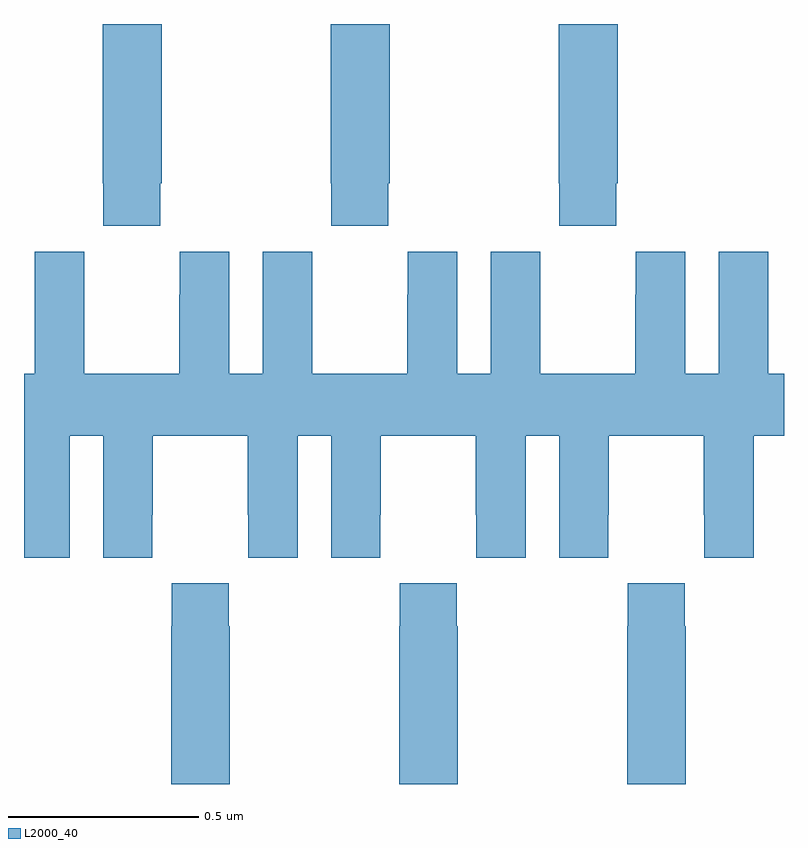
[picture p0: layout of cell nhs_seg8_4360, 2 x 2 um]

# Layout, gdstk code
import gdstk
lib = gdstk.Library(unit=1e-6, precision=1e-09)
def P(c, l, *ps):  # polygons
    for p in ps: c.add(gdstk.Polygon(p, *l))
L2000_40 = (2000, 40)

nhs_seg8_4360 = lib.new_cell('nhs_seg8_4360')
P(nhs_seg8_4360, L2000_40, [(169.959,1134.481),(169.962,1134.481),(169.962,1134.9),(169.807,1134.9),(169.807,1134.481),(169.809,1134.481),(169.809,1134.369),(169.959,1134.369)],
  [(170.559,1134.481),(170.562,1134.481),(170.562,1134.9),(170.407,1134.9),(170.407,1134.481),(170.409,1134.481),(170.409,1134.369),(170.559,1134.369)],
  [(169.359,1134.481),(169.362,1134.481),(169.362,1134.9),(169.207,1134.9),(169.207,1134.481),(169.209,1134.481),(169.209,1134.369),(169.359,1134.369)],
  [(169.12,1133.816),(169.208,1133.816),(169.208,1133.496),(169.338,1133.496),(169.338,1133.608),(169.339,1133.608),(169.339,1133.816),(169.589,1133.816),(169.589,1133.608),(169.59,1133.608),(169.59,1133.496),(169.72,1133.496),(169.72,1133.816),(169.808,1133.816),(169.808,1133.496),(169.938,1133.496),(169.938,1133.608),(169.939,1133.608),(169.939,1133.816),(170.189,1133.816),(170.189,1133.608),(170.19,1133.608),(170.19,1133.496),(170.32,1133.496),(170.32,1133.816),(170.408,1133.816),(170.408,1133.496),(170.538,1133.496),(170.538,1133.608),(170.539,1133.608),(170.539,1133.816),(170.789,1133.816),(170.789,1133.608),(170.79,1133.608),(170.79,1133.496),(170.92,1133.496),(170.92,1133.816),(171,1133.816),(171,1133.98),(170.959,1133.98),(170.959,1134.188),(170.958,1134.188),(170.958,1134.301),(170.828,1134.301),(170.828,1133.98),(170.74,1133.98),(170.74,1134.301),(170.61,1134.301),(170.61,1134.188),(170.609,1134.188),(170.609,1133.98),(170.359,1133.98),(170.359,1134.188),(170.358,1134.188),(170.358,1134.301),(170.228,1134.301),(170.228,1133.98),(170.14,1133.98),(170.14,1134.301),(170.01,1134.301),(170.01,1134.188),(170.009,1134.188),(170.009,1133.98),(169.759,1133.98),(169.759,1134.188),(169.758,1134.188),(169.758,1134.301),(169.628,1134.301),(169.628,1133.98),(169.54,1133.98),(169.54,1134.301),(169.41,1134.301),(169.41,1134.188),(169.409,1134.188),(169.409,1133.98),(169.159,1133.98),(169.159,1134.188),(169.158,1134.188),(169.158,1134.301),(169.028,1134.301),(169.028,1133.98),(169,1133.98),(169,1133.496),(169.12,1133.496)],
  [(170.742,1133.315),(170.739,1133.315),(170.739,1133.428),(170.589,1133.428),(170.589,1133.315),(170.587,1133.315),(170.587,1132.9),(170.742,1132.9)],
  [(170.142,1133.315),(170.139,1133.315),(170.139,1133.428),(169.989,1133.428),(169.989,1133.315),(169.987,1133.315),(169.987,1132.9),(170.142,1132.9)],
  [(169.542,1133.315),(169.539,1133.315),(169.539,1133.428),(169.389,1133.428),(169.389,1133.315),(169.387,1133.315),(169.387,1132.9),(169.542,1132.9)])

lib.write_gds('nhs_seg8_4360.gds')
